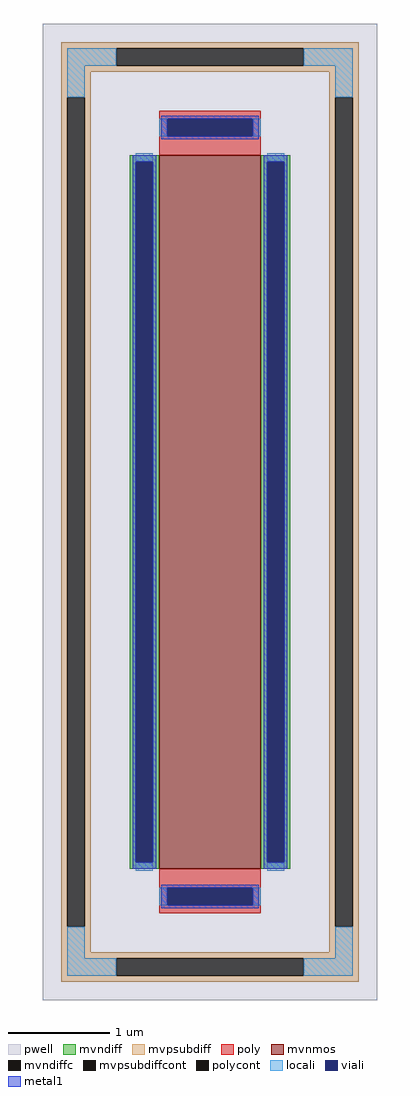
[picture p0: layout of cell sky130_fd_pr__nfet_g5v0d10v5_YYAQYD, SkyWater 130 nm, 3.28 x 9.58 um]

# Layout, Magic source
magic
tech sky130A
<< pwell >>
rect -164 -479 164 479
<< mvnmos >>
rect -50 -350 50 350
<< mvndiff >>
rect -79 344 -50 350
rect -79 -344 -73 344
rect -56 -344 -50 344
rect -79 -350 -50 -344
rect 50 344 79 350
rect 50 -344 56 344
rect 73 -344 79 344
rect 50 -350 79 -344
<< mvndiffc >>
rect -73 -344 -56 344
rect 56 -344 73 344
<< mvpsubdiff >>
rect -146 455 146 461
rect -146 438 -92 455
rect 92 438 146 455
rect -146 432 146 438
rect -146 407 -117 432
rect -146 -407 -140 407
rect -123 -407 -117 407
rect 117 407 146 432
rect -146 -432 -117 -407
rect 117 -407 123 407
rect 140 -407 146 407
rect 117 -432 146 -407
rect -146 -438 146 -432
rect -146 -455 -92 -438
rect 92 -455 146 -438
rect -146 -461 146 -455
<< mvpsubdiffcont >>
rect -92 438 92 455
rect -140 -407 -123 407
rect 123 -407 140 407
rect -92 -455 92 -438
<< poly >>
rect -50 386 50 394
rect -50 369 -42 386
rect 42 369 50 386
rect -50 350 50 369
rect -50 -369 50 -350
rect -50 -386 -42 -369
rect 42 -386 50 -369
rect -50 -394 50 -386
<< polycont >>
rect -42 369 42 386
rect -42 -386 42 -369
<< locali >>
rect -140 438 -92 455
rect 92 438 140 455
rect -140 407 -123 438
rect 123 407 140 438
rect -50 369 -42 386
rect 42 369 50 386
rect -73 344 -56 352
rect -73 -352 -56 -344
rect 56 344 73 352
rect 56 -352 73 -344
rect -50 -386 -42 -369
rect 42 -386 50 -369
rect -140 -438 -123 -407
rect 123 -438 140 -407
rect -140 -455 -92 -438
rect 92 -455 140 -438
<< viali >>
rect -42 369 42 386
rect -73 -344 -56 344
rect 56 -344 73 344
rect -42 -386 42 -369
<< metal1 >>
rect -48 386 48 389
rect -48 369 -42 386
rect 42 369 48 386
rect -48 366 48 369
rect -76 344 -53 350
rect -76 -344 -73 344
rect -56 -344 -53 344
rect -76 -350 -53 -344
rect 53 344 76 350
rect 53 -344 56 344
rect 73 -344 76 344
rect 53 -350 76 -344
rect -48 -369 48 -366
rect -48 -386 -42 -369
rect 42 -386 48 -369
rect -48 -389 48 -386
<< properties >>
string FIXED_BBOX -131 -446 131 446
string gencell sky130_fd_pr__nfet_g5v0d10v5
string library sky130
string parameters w 7.0 l 1.0 m 1 nf 1 diffcov 100 polycov 100 guard 1 glc 1 grc 1 gtc 1 gbc 1 tbcov 100 rlcov 100 topc 1 botc 1 poverlap 0 doverlap 1 lmin 0.50 wmin 0.42 compatible {sky130_fd_pr__nfet_01v8 sky130_fd_pr__nfet_01v8_lvt  sky130_fd_bs_flash__special_sonosfet_star  sky130_fd_pr__nfet_g5v0d10v5 sky130_fd_pr__nfet_05v0_nvt  sky130_fd_pr__nfet_03v3_nvt} full_metal 1 viasrc 100 viadrn 100 viagate 100 viagb 0 viagr 0 viagl 0 viagt 0
<< end >>
